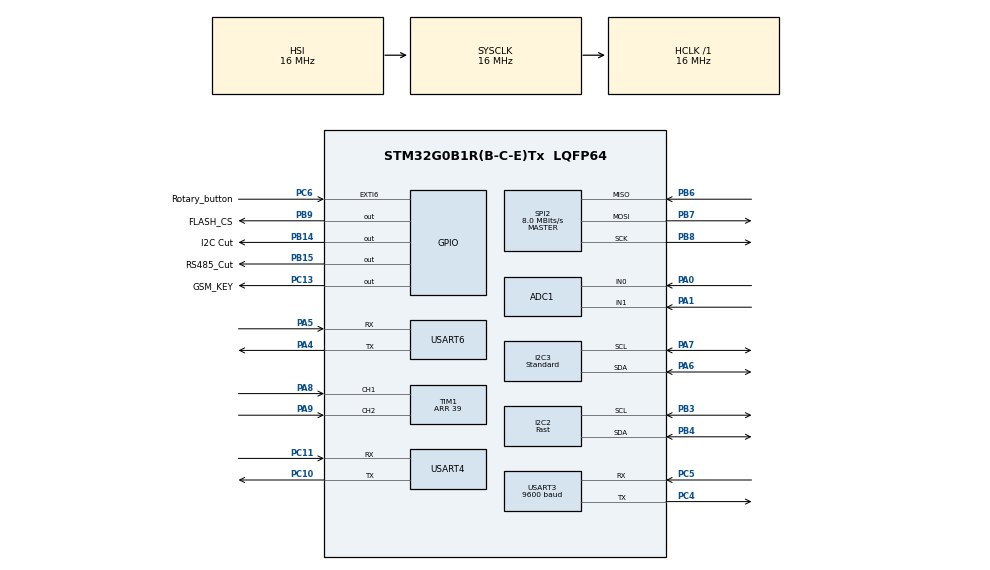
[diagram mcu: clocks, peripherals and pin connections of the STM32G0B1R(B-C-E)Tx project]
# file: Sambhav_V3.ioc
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ADC1.Channel-0\#ChannelRegularConversion=ADC_CHANNEL_0
ADC1.DiscontinuousConvMode=DISABLE
ADC1.NbrOfConversion=1
ADC1.NbrOfConversionFlag=1
ADC1.Rank-0\#ChannelRegularConversion=1
ADC1.SamplingTime-0\#ChannelRegularConversion=ADC_SAMPLINGTIME_COMMON_1
ADC1.SamplingTimeCommon1=ADC_SAMPLETIME_79CYCLES_5
ADC1.SamplingTimeCommon2=ADC_SAMPLETIME_3CYCLES_5
ADC1.SelectedChannel=ADC_CHANNEL_0|ADC_CHANNEL_1
ADC1.master=1
I2C2.I2C_Speed_Mode=I2C_Fast
I2C2.Timing=0x0010061A
I2C3.I2C_Speed_Mode=I2C_Standard
Mcu.Family=STM32G0
Mcu.Name=STM32G0B1R(B-C-E)Tx
Mcu.Package=LQFP64
NVIC.EXTI4_15_IRQn=true\:1\:0\:true\:false\:true\:true\:true\:true
NVIC.RTC_TAMP_IRQn=true\:0\:0\:false\:false\:true\:true\:true\:true
NVIC.TIM1_BRK_UP_TRG_COM_IRQn=true\:1\:0\:true\:false\:true\:true\:true\:true
NVIC.TIM1_CC_IRQn=true\:1\:0\:true\:false\:true\:true\:true\:true
NVIC.USART3_4_5_6_LPUART1_IRQn=true\:0\:0\:false\:false\:true\:true\:true\:true
PA0.Mode=IN0
PA0.Signal=ADC1_IN0
PA1.Mode=IN1
PA1.Signal=ADC1_IN1
PA13.GPIO_Label=TMS
PA13.Mode=Serial_Wire
PA13.Signal=SYS_SWDIO
PA14-BOOT0.GPIO_Label=TCK
PA14-BOOT0.Mode=Serial_Wire
PA14-BOOT0.Signal=SYS_SWCLK
PA4.Mode=Asynchronous
PA4.Signal=USART6_TX
PA5.Mode=Asynchronous
PA5.Signal=USART6_RX
PA6.GPIO_Pu=GPIO_PULLUP
PA6.Mode=I2C
PA6.Signal=I2C3_SDA
PA7.GPIO_Pu=GPIO_PULLUP
PA7.Mode=I2C
PA7.Signal=I2C3_SCL
PA8.GPIO_PuPd=GPIO_PULLUP
PA8.GPIO_Speed=GPIO_SPEED_FREQ_LOW
PA8.Signal=S_TIM1_CH1
PA9.GPIO_PuPd=GPIO_PULLUP
PA9.GPIO_Speed=GPIO_SPEED_FREQ_LOW
PA9.Signal=S_TIM1_CH2
PB14.GPIO_Label=I2C Cut
PB14.GPIO_PuPd=GPIO_PULLDOWN
PB14.PinState=GPIO_PIN_SET
PB14.Signal=GPIO_Output
PB15.GPIO_Label=RS485_Cut
PB15.GPIO_PuPd=GPIO_PULLDOWN
PB15.PinState=GPIO_PIN_SET
PB15.Signal=GPIO_Output
PB3.GPIO_Pu=GPIO_PULLUP
PB3.Mode=I2C
PB3.Signal=I2C2_SCL
PB4.GPIO_Pu=GPIO_PULLUP
PB4.Mode=I2C
PB4.Signal=I2C2_SDA
PB6.Mode=Full_Duplex_Master
PB6.Signal=SPI2_MISO
PB7.Mode=Full_Duplex_Master
PB7.Signal=SPI2_MOSI
PB8.Mode=Full_Duplex_Master
PB8.Signal=SPI2_SCK
PB9.GPIO_Label=FLASH_CS
PB9.PinState=GPIO_PIN_SET
PB9.Signal=GPIO_Output
PC10.GPIO_PuPd=GPIO_PULLUP
PC10.Mode=Asynchronous
PC10.Signal=USART4_TX
PC11.GPIO_PuPd=GPIO_PULLUP
PC11.Mode=Asynchronous
PC11.Signal=USART4_RX
PC13.GPIO_Label=GSM_KEY
PC13.GPIO_PuPd=GPIO_NOPULL
PC13.PinState=GPIO_PIN_RESET
PC13.Signal=GPIO_Output
PC14-OSC32_IN\ (PC14).Mode=LSE-External-Oscillator
PC14-OSC32_IN\ (PC14).Signal=RCC_OSC32_IN
PC15-OSC32_OUT\ (PC15).Mode=LSE-External-Oscillator
PC15-OSC32_OUT\ (PC15).Signal=RCC_OSC32_OUT
PC4.Mode=Asynchronous
PC4.Signal=USART3_TX
PC5.Mode=Asynchronous
PC5.Signal=USART3_RX
PC6.GPIO_Label=Rotary_button
PC6.GPIO_ModeDefaultEXTI=GPIO_MODE_IT_FALLING
PC6.GPIO_PuPd=GPIO_PULLUP
PC6.Signal=GPXTI6
PF0-OSC_IN\ (PF0).GPIO_Label=MCO
PF0-OSC_IN\ (PF0).Mode=HSE-External-Clock-Source
PF0-OSC_IN\ (PF0).Signal=RCC_OSC_IN
ProjectManager.HeapSize=0x200
ProjectManager.StackSize=0x400
ProjectManager.TargetToolchain=STM32CubeIDE
RCC.AHBFreq_Value=16000000
RCC.CortexFreq_Value=16000000
RCC.EXTERNAL_CLOCK_VALUE=12288000
RCC.HCLKFreq_Value=16000000
RCC.HSE_VALUE=8000000
RCC.HSI48_VALUE=48000000
RCC.HSI_VALUE=16000000
RCC.RTCClockSelection=RCC_RTCCLKSOURCE_LSE
RCC.SYSCLKFreq_VALUE=16000000
RCC.USBFreq_Value=48000000
RCC.VCOOutputFreq_Value=128000000
RTC.Alarm-Alarm\ A=RTC_ALARM_A
SH.S_TIM1_CH1.0=TIM1_CH1,Encoder_Interface
SH.S_TIM1_CH2.0=TIM1_CH2,Encoder_Interface
SPI2.CalculateBaudRate=8.0 MBits/s
SPI2.Direction=SPI_DIRECTION_2LINES
SPI2.Mode=SPI_MODE_MASTER
SPI2.VirtualType=VM_MASTER
TIM1.EncoderMode=TIM_ENCODERMODE_TI12
TIM1.Period=39
USART3.BaudRate=9600
USART3.VirtualMode-Asynchronous=VM_ASYNC
USART4.VirtualMode-Asynchronous=VM_ASYNC
USART6.VirtualMode-Asynchronous=VM_ASYNC
VP_RTC_VS_RTC_Activate.Mode=RTC_Enabled
VP_RTC_VS_RTC_Alarm_A_Intern.Mode=Alarm A
VP_RTC_VS_RTC_Calendar.Mode=RTC_Calendar
VP_SYS_VS_DBSignals.Mode=DisableDeadBatterySignals
board=NUCLEO-G0B1RE

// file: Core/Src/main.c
/* USER CODE BEGIN Header */
/**
 ******************************************************************************
 * @file           : main.c
 * @brief          : Main program body
 ******************************************************************************
 * @attention
 *
 * Copyright (c) 2023 STMicroelectronics.
 * All rights reserved.
 *
 * This software is licensed under terms that can be found in the LICENSE file
 * in the root directory of this software component.
 * If no LICENSE file comes with this software, it is provided AS-IS.
 *
 ******************************************************************************
 */
/* USER CODE END Header */
#include "main.h"

/* USER CODE BEGIN PD */
#define DISPLAY_DELAY 800
#define BATTERY_VOLTAGE_CHANNEL ADC_CHANNEL_0
#define SOLAR_RAD_CHANNEL ADC_CHANNEL_1
/* USER CODE END PD */

ADC_HandleTypeDef hadc1;

I2C_HandleTypeDef hi2c2;
I2C_HandleTypeDef hi2c3;

RTC_HandleTypeDef hrtc;

SPI_HandleTypeDef hspi2;

TIM_HandleTypeDef htim1;

UART_HandleTypeDef huart3;
UART_HandleTypeDef huart4;
UART_HandleTypeDef huart6;

/* USER CODE BEGIN PV */
/* Device identifiers and timing configuration */
uint32_t uid_stm32 = 0;
uint8_t time_interval = 15;   // Data collection interval in minutes
uint8_t GSM_interval = 1;     // Hourly GSM posting interval
// uint8_t flash_data_size = 82; // Old record size (float-encoded weather station)
uint8_t flash_data_size = 70; // Bytes stored per flash record
uint8_t backup_array[100] = {0};
uint8_t backup_array_size = 0;
uint8_t RSSI = 0;

/* Modbus sensor request packets */
uint8_t Leaf_wetness_1_query[] = {0x04, 0x03, 0x00, 0x00, 0x00, 0x02, 0x00, 0x00};
uint8_t Leaf_wetness_2_query[] = {0x08, 0x03, 0x00, 0x00, 0x00, 0x02, 0x00, 0x00};
uint8_t Soil_moisture_1_query[] = {0x02, 0x03, 0x00, 0x00, 0x00, 0x03, 0x00, 0x00};
uint8_t Soil_moisture_2_query[] = {0x06, 0x03, 0x00, 0x00, 0x00, 0x03, 0x00, 0x00};
uint8_t pH_query[] = {0x0B, 0x03, 0x00, 0x00, 0x00, 0x03, 0x00, 0x00};
uint8_t NPK1_query[] = {0x01, 0x03, 0x00, 0x00, 0x00, 0x03, 0x00, 0x00};
uint8_t NPK2_query[] = {0x07, 0x03, 0x00, 0x00, 0x00, 0x03, 0x00, 0x00};
uint8_t CO2_cmd[] = {0xFF, 0x01, 0x86, 0x00, 0x00, 0x00, 0x00, 0x00, 0x79};
/* Old weather station (slave 0x05, three separate reads) - replaced by
   Weather_SMKB_modbus_query below. Kept for reference / rollback. */
// uint8_t Weather_Wi_T_RH_Pr[] = {0x05, 0x03, 0x00, 0x01, 0x00, 0x09, 0x00, 0x00};
// uint8_t Weather_rain[] = {0x05, 0x03, 0x00, 0x0C, 0x00, 0x04, 0x00, 0x00};
// uint8_t Weather_SR[] = {0x05, 0x03, 0x00, 0x21, 0x00, 0x02, 0x00, 0x00};
/* Old solar radiation query (slave 0x0B) - was never issued; replaced by
   solar_rad_modbus_query below. */
// uint8_t Solar_radiation_query[] = {0x0B, 0x03, 0x00, 0x00, 0x00, 0x01, 0x00, 0x00};
uint8_t PAR_query[] = {0x0A, 0x03, 0x00, 0x00, 0x00, 0x01, 0x00, 0x00};

uint8_t Weather_SMKB_modbus_query[] = {
    0x05,       // Slave address
    0x03,       // Function code
    0x00, 0x00, // Start register = 0x0000
    0x00, 0x0E, // Number of registers = 14
    0x00, 0x00  // CRC filled by Add_CRC()
};

uint8_t solar_rad_modbus_query[] = {
    0x03,       // Slave address
    0x03,       // Function code
    0x00, 0x00, // Start register = 0x0000
    0x00, 0x01, // read 1 register
    0x85, 0xE8
};

/* Sensor measurements and computed values */
float temperature, humidity, pH_value, soil_temp_pH, leaf_wet_1, leaf_wet_2, soil_moisture_1, soil_temp_1, soil_moisture_2, soil_temp_2, solar_radiation, voltage, battery_voltage;
float wind_speed, air_temp, air_rh, baro_pressure, rainfall, rainfall_acc, Air_solar;
uint16_t co2 = 0, N1 = 0, P1 = 0, K1 = 0, N2 = 0, P2 = 0, K2 = 0, soil_EC_1, soil_EC_2, wind_dir;

/* SMKB weather station + dedicated solar radiation sensor (Modbus) */
int16_t solar_rad = 0;                 // W/m2, from solar_rad_modbus_query
int16_t actual_wind_direction = 0;     // degrees, mechanical vane
int16_t ultrasonic_wind_direction = 0; // degrees, ultrasonic
float pressure = 0.0f;                 // hPa
float rainfall_intensity = 0.0f;       // mm/min
float accumulated_rainfall = 0.0f;     // mm
char print_char[200] = {0};
float PAR_data = 0.0;

/* Application flags */
uint8_t GSM_connected_flag = 0;
uint8_t flash_ready_flag = 0;
uint8_t Rotary_button_pressed = 0;
uint8_t wakeup_from_alarm = 0;
uint8_t bootup_flag = 0;
uint8_t RTC_alarm_flag = 0;

#if (USE_HTTP_UPLOAD == 0)
/* MQTT link (always connected) and the simulated motor - see MQTT_app_poll() */
char mqtt_device_id[24] = {0};  // "SAMBHAV_<uid>", same as the JSON Device_ID
uint8_t mqtt_connected = 0;
uint8_t motor_running = 0;
uint32_t motor_start_tick = 0;
uint32_t motor_duration_ms = 0;
uint32_t mqtt_last_check_tick = 0;
#endif

extern uint32_t flash_write_address;
extern uint32_t flash_read_address;
extern uint32_t flash_erase_address;
extern uint32_t flash_next_write_address;
extern uint32_t flash_next_read_address;
/* USER CODE END PV */

void SystemClock_Config(void);
static void MX_GPIO_Init(void);
static void MX_I2C2_Init(void);
static void MX_TIM1_Init(void);
static void MX_RTC_Init(void);
static void MX_USART4_UART_Init(void);
static void MX_USART6_UART_Init(void);
static void MX_USART3_UART_Init(void);
static void MX_SPI2_Init(void);
static void MX_I2C3_Init(void);
static void MX_ADC1_Init(void);
/* USER CODE BEGIN PFP */
#if (USE_HTTP_UPLOAD == 0)
uint8_t MQTT_app_connect(void);
void MQTT_app_poll(void);
#endif
/* USER CODE END PFP */

int main(void)
{

  /* MCU Configuration--------------------------------------------------------*/

  /* Reset of all peripherals, Initializes the Flash interface and the Systick. */
  HAL_Init();

  /* USER CODE BEGIN Init */
  HAL_SYSCFG_StrobeDBattpinsConfig(SYSCFG_CFGR1_UCPD1_STROBE);
  /* USER CODE END Init */

  /* Configure the system clock */
  SystemClock_Config();

  /* Initialize all configured peripherals */
  MX_GPIO_Init();
  MX_I2C2_Init();
  MX_TIM1_Init();
  MX_RTC_Init();
  MX_USART4_UART_Init();
  MX_USART6_UART_Init();
  MX_USART3_UART_Init();
  MX_SPI2_Init();
  MX_I2C3_Init();
  MX_ADC1_Init();
  /* USER CODE BEGIN 2 */
  GSM_init(&huart4);
  w25q32jv_flash_init(&hspi2);

  SSD1306_Init();
  SSD1306_Clear();

  CALLBACKS_RegisterTypeDef callBacks;
  callBacks.callBackPoss = rotaryPossCallBack;
  callBacks.callBackBTNpress = btnPressCallBack;
  ROT_ENC_init(&callBacks);

  bootup_flag = 1;
  printDisplay("Booting....");
  serial_print("-----------------------BOOTUP------------------\r\n\r\n\r\n");

  /* USER CODE END 2 */

  /* Infinite loop */
  while (1)
  {

    /* USER CODE BEGIN 3 */
    if (bootup_flag == SET || RTC_alarm_flag == SET)
    {
      /* Perform the periodic data collection and GSM upload sequence */
      App_operation();
      RTC_alarm_flag = RESET;
    }

#if (USE_HTTP_UPLOAD == 0)
    /* Between cycles: handle motor_cmd/cmd/ota, stop the motor on time */
    MQTT_app_poll();
#endif

    if (Rotary_button_pressed == 1)
    {
      /* Enter menu mode when the rotary encoder button is pressed */
      while (1)
      {
        ROT_ENC_handler();
        printHandler();
      }
    }
  }
  /* USER CODE END 3 */
}

void SystemClock_Config(void)
{
  RCC_OscInitTypeDef RCC_OscInitStruct = {0};
  RCC_ClkInitTypeDef RCC_ClkInitStruct = {0};

  /** Configure the main internal regulator output voltage
   */
  HAL_PWREx_ControlVoltageScaling(PWR_REGULATOR_VOLTAGE_SCALE1);

  /** Configure LSE Drive Capability
   */
  HAL_PWR_EnableBkUpAccess();
  __HAL_RCC_LSEDRIVE_CONFIG(RCC_LSEDRIVE_LOW);

  /** Initializes the RCC Oscillators according to the specified parameters
   * in the RCC_OscInitTypeDef structure.
   */
  RCC_OscInitStruct.OscillatorType = RCC_OSCILLATORTYPE_HSI | RCC_OSCILLATORTYPE_LSE;
  RCC_OscInitStruct.LSEState = RCC_LSE_ON;
  RCC_OscInitStruct.HSIState = RCC_HSI_ON;
  RCC_OscInitStruct.HSIDiv = RCC_HSI_DIV1;
  RCC_OscInitStruct.HSICalibrationValue = RCC_HSICALIBRATION_DEFAULT;
  RCC_OscInitStruct.PLL.PLLState = RCC_PLL_NONE;
  if (HAL_RCC_OscConfig(&RCC_OscInitStruct) != HAL_OK)
  {
    Error_Handler();
  }

  /** Initializes the CPU, AHB and APB buses clocks
   */
  RCC_ClkInitStruct.ClockType = RCC_CLOCKTYPE_HCLK | RCC_CLOCKTYPE_SYSCLK | RCC_CLOCKTYPE_PCLK1;
  RCC_ClkInitStruct.SYSCLKSource = RCC_SYSCLKSOURCE_HSI;
  RCC_ClkInitStruct.AHBCLKDivider = RCC_SYSCLK_DIV1;
  RCC_ClkInitStruct.APB1CLKDivider = RCC_HCLK_DIV1;

  if (HAL_RCC_ClockConfig(&RCC_ClkInitStruct, FLASH_LATENCY_0) != HAL_OK)
  {
    Error_Handler();
  }
}

static void MX_ADC1_Init(void)
{

  ADC_ChannelConfTypeDef sConfig = {0};

  /** Configure the global features of the ADC (Clock, Resolution, Data Alignment and number of conversion)
   */
  hadc1.Instance = ADC1;
  hadc1.Init.ClockPrescaler = ADC_CLOCK_SYNC_PCLK_DIV2;
  hadc1.Init.Resolution = ADC_RESOLUTION_12B;
  hadc1.Init.DataAlign = ADC_DATAALIGN_RIGHT;
  hadc1.Init.ScanConvMode = ADC_SCAN_DISABLE;
  hadc1.Init.EOCSelection = ADC_EOC_SINGLE_CONV;
  hadc1.Init.LowPowerAutoWait = DISABLE;
  hadc1.Init.LowPowerAutoPowerOff = DISABLE;
  hadc1.Init.ContinuousConvMode = DISABLE;
  hadc1.Init.NbrOfConversion = 1;
  hadc1.Init.DiscontinuousConvMode = DISABLE;
  hadc1.Init.ExternalTrigConv = ADC_SOFTWARE_START;
  hadc1.Init.ExternalTrigConvEdge = ADC_EXTERNALTRIGCONVEDGE_NONE;
  hadc1.Init.DMAContinuousRequests = DISABLE;
  hadc1.Init.Overrun = ADC_OVR_DATA_PRESERVED;
  hadc1.Init.SamplingTimeCommon1 = ADC_SAMPLETIME_79CYCLES_5;
  hadc1.Init.SamplingTimeCommon2 = ADC_SAMPLETIME_3CYCLES_5;
  hadc1.Init.OversamplingMode = DISABLE;
  hadc1.Init.TriggerFrequencyMode = ADC_TRIGGER_FREQ_HIGH;
  if (HAL_ADC_Init(&hadc1) != HAL_OK)
  {
    Error_Handler();
  }

  /** Configure Regular Channel
   */
  sConfig.Channel = ADC_CHANNEL_0;
  sConfig.Rank = ADC_REGULAR_RANK_1;
  sConfig.SamplingTime = ADC_SAMPLINGTIME_COMMON_1;
  if (HAL_ADC_ConfigChannel(&hadc1, &sConfig) != HAL_OK)
  {
    Error_Handler();
  }
}

static void MX_I2C2_Init(void)
{

  hi2c2.Instance = I2C2;
  hi2c2.Init.Timing = 0x0010061A;
  hi2c2.Init.OwnAddress1 = 0;
  hi2c2.Init.AddressingMode = I2C_ADDRESSINGMODE_7BIT;
  hi2c2.Init.DualAddressMode = I2C_DUALADDRESS_DISABLE;
  hi2c2.Init.OwnAddress2 = 0;
  hi2c2.Init.OwnAddress2Masks = I2C_OA2_NOMASK;
  hi2c2.Init.GeneralCallMode = I2C_GENERALCALL_DISABLE;
  hi2c2.Init.NoStretchMode = I2C_NOSTRETCH_DISABLE;
  if (HAL_I2C_Init(&hi2c2) != HAL_OK)
  {
    Error_Handler();
  }

  /** Configure Analogue filter
   */
  if (HAL_I2CEx_ConfigAnalogFilter(&hi2c2, I2C_ANALOGFILTER_ENABLE) != HAL_OK)
  {
    Error_Handler();
  }

  /** Configure Digital filter
   */
  if (HAL_I2CEx_ConfigDigitalFilter(&hi2c2, 0) != HAL_OK)
  {
    Error_Handler();
  }
}

static void MX_I2C3_Init(void)
{

  hi2c3.Instance = I2C3;
  hi2c3.Init.Timing = 0x00303D5B;
  hi2c3.Init.OwnAddress1 = 0;
  hi2c3.Init.AddressingMode = I2C_ADDRESSINGMODE_7BIT;
  hi2c3.Init.DualAddressMode = I2C_DUALADDRESS_DISABLE;
  hi2c3.Init.OwnAddress2 = 0;
  hi2c3.Init.OwnAddress2Masks = I2C_OA2_NOMASK;
  hi2c3.Init.GeneralCallMode = I2C_GENERALCALL_DISABLE;
  hi2c3.Init.NoStretchMode = I2C_NOSTRETCH_DISABLE;
  if (HAL_I2C_Init(&hi2c3) != HAL_OK)
  {
    Error_Handler();
  }

  /** Configure Analogue filter
   */
  if (HAL_I2CEx_ConfigAnalogFilter(&hi2c3, I2C_ANALOGFILTER_ENABLE) != HAL_OK)
  {
    Error_Handler();
  }

  /** Configure Digital filter
   */
  if (HAL_I2CEx_ConfigDigitalFilter(&hi2c3, 0) != HAL_OK)
  {
    Error_Handler();
  }
}

static void MX_RTC_Init(void)
{

  /** Initialize RTC Only
   */
  hrtc.Instance = RTC;
  hrtc.Init.HourFormat = RTC_HOURFORMAT_24;
  hrtc.Init.AsynchPrediv = 127;
  hrtc.Init.SynchPrediv = 255;
  hrtc.Init.OutPut = RTC_OUTPUT_DISABLE;
  hrtc.Init.OutPutRemap = RTC_OUTPUT_REMAP_NONE;
  hrtc.Init.OutPutPolarity = RTC_OUTPUT_POLARITY_HIGH;
  hrtc.Init.OutPutType = RTC_OUTPUT_TYPE_OPENDRAIN;
  hrtc.Init.OutPutPullUp = RTC_OUTPUT_PULLUP_NONE;
  if (HAL_RTC_Init(&hrtc) != HAL_OK)
  {
    Error_Handler();
  }

}

static void MX_SPI2_Init(void)
{

  /* SPI2 parameter configuration*/
  hspi2.Instance = SPI2;
  hspi2.Init.Mode = SPI_MODE_MASTER;
  hspi2.Init.Direction = SPI_DIRECTION_2LINES;
  hspi2.Init.DataSize = SPI_DATASIZE_8BIT;
  hspi2.Init.CLKPolarity = SPI_POLARITY_LOW;
  hspi2.Init.CLKPhase = SPI_PHASE_1EDGE;
  hspi2.Init.NSS = SPI_NSS_SOFT;
  hspi2.Init.BaudRatePrescaler = SPI_BAUDRATEPRESCALER_2;
  hspi2.Init.FirstBit = SPI_FIRSTBIT_MSB;
  hspi2.Init.TIMode = SPI_TIMODE_DISABLE;
  hspi2.Init.CRCCalculation = SPI_CRCCALCULATION_DISABLE;
  hspi2.Init.CRCPolynomial = 7;
  hspi2.Init.CRCLength = SPI_CRC_LENGTH_DATASIZE;
  hspi2.Init.NSSPMode = SPI_NSS_PULSE_ENABLE;
  if (HAL_SPI_Init(&hspi2) != HAL_OK)
  {
    Error_Handler();
  }
}

static void MX_TIM1_Init(void)
{

  TIM_Encoder_InitTypeDef sConfig = {0};
  TIM_MasterConfigTypeDef sMasterConfig = {0};

  htim1.Instance = TIM1;
  htim1.Init.Prescaler = 0;
  htim1.Init.CounterMode = TIM_COUNTERMODE_UP;
  htim1.Init.Period = 39;
  htim1.Init.ClockDivision = TIM_CLOCKDIVISION_DIV1;
  htim1.Init.RepetitionCounter = 0;
  htim1.Init.AutoReloadPreload = TIM_AUTORELOAD_PRELOAD_DISABLE;
  sConfig.EncoderMode = TIM_ENCODERMODE_TI12;
  sConfig.IC1Polarity = TIM_ICPOLARITY_RISING;
  sConfig.IC1Selection = TIM_ICSELECTION_DIRECTTI;
  sConfig.IC1Prescaler = TIM_ICPSC_DIV1;
  sConfig.IC1Filter = 0;
  sConfig.IC2Polarity = TIM_ICPOLARITY_RISING;
  sConfig.IC2Selection = TIM_ICSELECTION_DIRECTTI;
  sConfig.IC2Prescaler = TIM_ICPSC_DIV1;
  sConfig.IC2Filter = 0;
  if (HAL_TIM_Encoder_Init(&htim1, &sConfig) != HAL_OK)
  {
    Error_Handler();
  }
  sMasterConfig.MasterOutputTrigger = TIM_TRGO_RESET;
  sMasterConfig.MasterOutputTrigger2 = TIM_TRGO2_RESET;
  sMasterConfig.MasterSlaveMode = TIM_MASTERSLAVEMODE_DISABLE;
  if (HAL_TIMEx_MasterConfigSynchronization(&htim1, &sMasterConfig) != HAL_OK)
  {
    Error_Handler();
  }
  /* USER CODE BEGIN TIM1_Init 2 */
  HAL_TIM_Encoder_Start(&htim1, TIM_CHANNEL_ALL);
  /* USER CODE END TIM1_Init 2 */
}

static void MX_USART3_UART_Init(void)
{

  huart3.Instance = USART3;
  huart3.Init.BaudRate = 9600;
  huart3.Init.WordLength = UART_WORDLENGTH_8B;
  huart3.Init.StopBits = UART_STOPBITS_1;
  huart3.Init.Parity = UART_PARITY_NONE;
  huart3.Init.Mode = UART_MODE_TX_RX;
  huart3.Init.HwFlowCtl = UART_HWCONTROL_NONE;
  huart3.Init.OverSampling = UART_OVERSAMPLING_16;
  huart3.Init.OneBitSampling = UART_ONE_BIT_SAMPLE_DISABLE;
  huart3.Init.ClockPrescaler = UART_PRESCALER_DIV1;
  huart3.AdvancedInit.AdvFeatureInit = UART_ADVFEATURE_NO_INIT;
  if (HAL_UART_Init(&huart3) != HAL_OK)
  {
    Error_Handler();
  }
  if (HAL_UARTEx_SetTxFifoThreshold(&huart3, UART_TXFIFO_THRESHOLD_1_8) != HAL_OK)
  {
    Error_Handler();
  }
  if (HAL_UARTEx_SetRxFifoThreshold(&huart3, UART_RXFIFO_THRESHOLD_1_8) != HAL_OK)
  {
    Error_Handler();
  }
  if (HAL_UARTEx_DisableFifoMode(&huart3) != HAL_OK)
  {
    Error_Handler();
  }
}

static void MX_USART4_UART_Init(void)
{

  huart4.Instance = USART4;
  huart4.Init.BaudRate = 115200;
  huart4.Init.WordLength = UART_WORDLENGTH_8B;
  huart4.Init.StopBits = UART_STOPBITS_1;
  huart4.Init.Parity = UART_PARITY_NONE;
  huart4.Init.Mode = UART_MODE_TX_RX;
  huart4.Init.HwFlowCtl = UART_HWCONTROL_NONE;
  huart4.Init.OverSampling = UART_OVERSAMPLING_16;
  huart4.Init.OneBitSampling = UART_ONE_BIT_SAMPLE_DISABLE;
  huart4.Init.ClockPrescaler = UART_PRESCALER_DIV1;
  huart4.AdvancedInit.AdvFeatureInit = UART_ADVFEATURE_NO_INIT;
  if (HAL_UART_Init(&huart4) != HAL_OK)
  {
    Error_Handler();
  }
}

static void MX_USART6_UART_Init(void)
{

  huart6.Instance = USART6;
  huart6.Init.BaudRate = 115200;
  huart6.Init.WordLength = UART_WORDLENGTH_8B;
  huart6.Init.StopBits = UART_STOPBITS_1;
  huart6.Init.Parity = UART_PARITY_NONE;
  huart6.Init.Mode = UART_MODE_TX_RX;
  huart6.Init.HwFlowCtl = UART_HWCONTROL_NONE;
  huart6.Init.OverSampling = UART_OVERSAMPLING_16;
  huart6.Init.OneBitSampling = UART_ONE_BIT_SAMPLE_DISABLE;
  huart6.Init.ClockPrescaler = UART_PRESCALER_DIV1;
  huart6.AdvancedInit.AdvFeatureInit = UART_ADVFEATURE_NO_INIT;
  if (HAL_UART_Init(&huart6) != HAL_OK)
  {
    Error_Handler();
  }
}

static void MX_GPIO_Init(void)
{
  GPIO_InitTypeDef GPIO_InitStruct = {0};

  /* GPIO Ports Clock Enable */
  __HAL_RCC_GPIOC_CLK_ENABLE();
  __HAL_RCC_GPIOF_CLK_ENABLE();
  __HAL_RCC_GPIOA_CLK_ENABLE();
  __HAL_RCC_GPIOB_CLK_ENABLE();

  /*Configure GPIO pin Output Level */
  HAL_GPIO_WritePin(GSM_KEY_GPIO_Port, GSM_KEY_Pin, GPIO_PIN_RESET);

  /*Configure GPIO pin Output Level */
  HAL_GPIO_WritePin(GPIOB, I2C_Cut_Pin | RS485_Cut_Pin | FLASH_CS_Pin, GPIO_PIN_SET);

  /*Configure GPIO pin : GSM_KEY_Pin */
  GPIO_InitStruct.Pin = GSM_KEY_Pin;
  GPIO_InitStruct.Mode = GPIO_MODE_OUTPUT_PP;
  GPIO_InitStruct.Pull = GPIO_NOPULL;
  GPIO_InitStruct.Speed = GPIO_SPEED_FREQ_LOW;
  HAL_GPIO_Init(GSM_KEY_GPIO_Port, &GPIO_InitStruct);

  /*Configure GPIO pins : I2C_Cut_Pin RS485_Cut_Pin */
  GPIO_InitStruct.Pin = I2C_Cut_Pin | RS485_Cut_Pin;
  GPIO_InitStruct.Mode = GPIO_MODE_OUTPUT_PP;
  GPIO_InitStruct.Pull = GPIO_PULLDOWN;
  GPIO_InitStruct.Speed = GPIO_SPEED_FREQ_LOW;
  HAL_GPIO_Init(GPIOB, &GPIO_InitStruct);

  /*Configure GPIO pin : Rotary_button_Pin */
  GPIO_InitStruct.Pin = Rotary_button_Pin;
  GPIO_InitStruct.Mode = GPIO_MODE_IT_FALLING;
  GPIO_InitStruct.Pull = GPIO_PULLUP;
  HAL_GPIO_Init(Rotary_button_GPIO_Port, &GPIO_InitStruct);

  /*Configure GPIO pin : FLASH_CS_Pin */
  GPIO_InitStruct.Pin = FLASH_CS_Pin;
  GPIO_InitStruct.Mode = GPIO_MODE_OUTPUT_PP;
  GPIO_InitStruct.Pull = GPIO_NOPULL;
  GPIO_InitStruct.Speed = GPIO_SPEED_FREQ_LOW;
  HAL_GPIO_Init(FLASH_CS_GPIO_Port, &GPIO_InitStruct);

  /* EXTI interrupt init*/
  HAL_NVIC_SetPriority(EXTI4_15_IRQn, 1, 0);
  HAL_NVIC_EnableIRQ(EXTI4_15_IRQn);

}

/* USER CODE BEGIN 4 */

void HAL_RTC_AlarmAEventCallback(RTC_HandleTypeDef *hrtc)
{
  RTC_alarm_flag = SET;
}

void serial_print(char *str)
{
  HAL_UART_Transmit(&huart6, (uint8_t *)str, strlen(str), 1000);
  HAL_UART_Transmit(&huart6, (uint8_t *)"\r\n", 2, 1000);
}

void serial_print_inline(char *str) // Print on same line
{
  HAL_UART_Transmit(&huart6, (uint8_t *)str, strlen(str), 1000);
}

void HAL_UART_TxCpltCallback(UART_HandleTypeDef *UartHandle)
{
  GSM_UART_TxCpltCallback();
}

/**
 * @brief  Rx Transfer completed callback
 * @param  UartHandle: UART handle
 * @note   This example shows a simple way to report end of IT Rx transfer, and
 *         you can add your own implementation.
 * @retval None
 */
void HAL_UART_RxCpltCallback(UART_HandleTypeDef *UartHandle)
{
  GSM_UART_RxCpltCallback();
}

void HAL_GPIO_EXTI_Falling_Callback(uint16_t GPIO_Pin)
{
  if (GPIO_Pin == Rotary_button_Pin)
  {
    HAL_NVIC_DisableIRQ(EXTI4_15_IRQn);

    if (HAL_GPIO_ReadPin(Rotary_button_GPIO_Port, Rotary_button_Pin) == GPIO_PIN_RESET)
    {
      uint32_t getTick = HAL_GetTick();
      while (HAL_GPIO_ReadPin(Rotary_button_GPIO_Port, Rotary_button_Pin) == GPIO_PIN_RESET)
        ;

      /* Detect a long press for entering menu mode */
      if ((HAL_GetTick() - getTick) > 3000)
      {
        Rotary_button_pressed = 1;
      }
      else
      {
        HAL_NVIC_EnableIRQ(EXTI4_15_IRQn);
      }
    }
    else
    {
      HAL_NVIC_EnableIRQ(EXTI4_15_IRQn);
    }
  }
}

void HAL_GPIO_EXTI_Rising_Callback(uint16_t GPIO_Pin)
{
}
/**
 * @brief  UART error callbacks
 * @param  UartHandle: UART handle
 * @note   This example shows a simple way to report transfer error, and you can
 *         add your own implementation.
 * @retval None
 */
void HAL_UART_ErrorCallback(UART_HandleTypeDef *UartHandle)
{
  printDisplay_level(35, "uec");
  // Error_Handler();
}

void printDisplay(char *data)
{
  SSD1306_Clear();
  SSD1306_GotoXY(0, 8);
  SSD1306_Puts(data, &Font_11x18, 1);
  SSD1306_UpdateScreen(); // display
}

void printDisplay_level(uint16_t x_coord, char *data)
{
  /* Draw text at the requested X coordinate without clearing the screen */
  SSD1306_GotoXY(x_coord, 8);
  SSD1306_Puts(data, &Font_11x18, 1);
  SSD1306_UpdateScreen();
}

void check_wakeup(void)
{
  if (__HAL_PWR_GET_FLAG(PWR_FLAG_SB) != RESET)
  {
    /* Clear Standby flag after waking from low-power standby */
    __HAL_PWR_CLEAR_FLAG(PWR_FLAG_SB);
    serial_print("-----------------------WAKEUP------------------\r\n\r\n\r\n");

    /* After waking up from low-power mode (Stop or Standby), RSF must be cleared by software.
      The software must then wait until it is set again before reading the RTC_SSR, RTC_TR and
      RTC_DR registers. */
    __HAL_RTC_WRITEPROTECTION_DISABLE(&hrtc);
    HAL_RTC_WaitForSynchro(&hrtc);
    __HAL_RTC_WRITEPROTECTION_ENABLE(&hrtc);
    __HAL_RTC_ALARM_CLEAR_FLAG(&hrtc, RTC_FLAG_ALRAF);

    wakeup_from_alarm = 1;
  }
  else
  {
    printDisplay("Booting....");
    serial_print("-----------------------BOOTUP------------------\r\n\r\n\r\n");
    wakeup_from_alarm = 0;
    bootup_flag = 1;
  }
}

void App_operation()
{
  struct tm time_tm;
  time_t ts = 0;
  uint8_t type = 0;

  /* Prepare RS485 bus and flash state */
  HAL_GPIO_WritePin(RS485_Cut_GPIO_Port, RS485_Cut_Pin, GPIO_PIN_SET);

  uid_stm32 = HAL_GetUIDw0();
  type = read_device_id();
  if (type == 0x16)
  {
    flash_ready_flag = 1;
    read_address_map();
  }
  sprintf(print_char, "Device ID %08lX \r\n", uid_stm32);
  serial_print(print_char);

  if (bootup_flag == 1)
  {
    /* The modem now stays on, so after an MCU reset it may already be running;
       pulsing PWRKEY then would switch it off. */
    // GSM_power_up();
    if (!GSM_isAlive())
      GSM_power_up();
    GSM_connected_flag = GSM_time_sync(TIME_SYNC_URL);
#if (USE_HTTP_UPLOAD == 0)
    MQTT_app_connect();
#endif
  }

  ts = RTC_read_device_time();
  localtime_r(&ts, &time_tm);

  if (time_tm.tm_hour == 3 && time_tm.tm_min == 15 && bootup_flag == 0)
  {
    write_modbus_register(0x05, 0x00F2, 0x0000);    // Reset the weather station to clear any errors
    /* Scheduled daily restart at 03:15am GMT ( 8:45am IST ) */
    printDisplay("Restart");
    serial_print("Scheduled Restart");
    HAL_NVIC_SystemReset();
  }

  if (time_tm.tm_year - 100 >= 24)
  {
    Read_data(ts);
    Oled_Data_display();
    GSM_post_sequence(ts);
    printDisplay("Sleep");
    HAL_Delay(500);
  }

  rtc_set_alarm(); /* Enter standby mode after completing the cycle */
}
void Read_data(time_t ts)
{
  HAL_StatusTypeDef ret;
  /* Must hold the largest Modbus response in use: the SMKB weather station
     returns 33 bytes (14 registers + addr/func/len/CRC). Was [24]. */
  uint8_t modbus_RX[40] = {0};
  uint8_t SCD40_RxBuffer[9] = {0};
  uint8_t SHT85_Buffer[4] = {0};
  uint8_t data[sizeof(backup_array)] = {0}; /* Temporary buffer for flash reads; sized to hold a full record read-back */
  int mb_index = 0;
  // struct tm time_tm; /* only used by the old weather-station RESET block */
  uint32_t adc_data = 0;
  uint8_t retry = 0;

  memset(backup_array, 0, sizeof(backup_array));
  backup_array_size = 0;

  /* Store timestamp header in backup buffer */
  backup_array[backup_array_size++] = 0xAA;
  backup_array[backup_array_size++] = (ts >> 24) & 0xFF;
  backup_array[backup_array_size++] = (ts >> 16) & 0xFF;
  backup_array[backup_array_size++] = (ts >> 8) & 0xFF;
  backup_array[backup_array_size++] = ts & 0xFF;

  serial_print("Reading data from sensors");
  printDisplay("Read data");

  /* Read CO2 from SCD41 over I2C, retry once if unavailable */
  while (retry < 2)
  {
    retry++;
    ret = HAL_I2C_IsDeviceReady(&hi2c3, (uint16_t)SCD40_I2C_ADDRESS << 1, 3, 5); // Check whether I2C sensor is working
    if (ret == HAL_OK)
    {
      get_scd40_data(SCD40_RxBuffer);
      break;
    }
    HAL_Delay(500);
  }

  co2 = (SCD40_RxBuffer[0] << 8) + SCD40_RxBuffer[1];
  backup_array[backup_array_size++] = SCD40_RxBuffer[0];
  backup_array[backup_array_size++] = SCD40_RxBuffer[1];

  //-------------------------------SHT45-----------------------------------------------------------------
  retry = 0;
  uint16_t temp_raw_avg = 0;
  uint16_t humid_raw_avg = 0;
  while (retry < 2)
  {
    retry++;
    ret = HAL_I2C_IsDeviceReady(&hi2c3, (uint16_t)SHT45_ADDR, 3, 5); // Check whether I2C sensor is working
    if (ret == HAL_OK)
    {
      uint16_t temp_samples[5];
      uint16_t hum_samples[5];
      uint16_t temp_raw = 0;
      uint16_t hum_raw = 0;

      // Collect 5 readings
      for (int i = 0; i < 5; i++)
      {
        Get_SHT45_values(SHT85_Buffer, &temp_raw, &hum_raw);
        temp_samples[i] = temp_raw;
        hum_samples[i] = hum_raw;
        HAL_Delay(20);
      }
      // Simple bubble sort for 5 elements
      for (int i = 0; i < 5 - 1; i++)
      {
        for (int j = 0; j < 5 - i - 1; j++)
        {
          if (temp_samples[j] > temp_samples[j + 1])
          {
            uint16_t temp = temp_samples[j];
            temp_samples[j] = temp_samples[j + 1];
            temp_samples[j + 1] = temp;
          }

          if (hum_samples[j] > hum_samples[j + 1])
          {
            uint16_t temp = hum_samples[j];
            hum_samples[j] = hum_samples[j + 1];
            hum_samples[j + 1] = temp;
          }
        }
      }

      // Median = middle value after sorting
      temp_raw_avg = temp_samples[2];
      humid_raw_avg = hum_samples[2];

      break;
    }
    HAL_Delay(500);
  }

  backup_array[backup_array_size++] = (temp_raw_avg >> 8) & 0xFF;
  backup_array[backup_array_size++] = temp_raw_avg & 0xFF;
  backup_array[backup_array_size++] = (humid_raw_avg >> 8) & 0xFF;
  backup_array[backup_array_size++] = humid_raw_avg & 0xFF;
  temperature = calc_temp_SHT45(temp_raw_avg);
  humidity = calc_humid_SHT45(humid_raw_avg);
  sprintf(print_char, "Final Median Temp= = %0.2f; RH = %0.2f\r\n", temperature, humidity);
  serial_print(print_char);

  // modbus
  HAL_Delay(500);
  // NPK
  get_modbus_data(NPK1_query, modbus_RX, 11);
  N1 = ((modbus_RX[3] << 8) + modbus_RX[4]);
  P1 = ((modbus_RX[5] << 8) + modbus_RX[6]);
  K1 = ((modbus_RX[7] << 8) + modbus_RX[8]);

  mb_index = 3;
  for (int i = backup_array_size; i < backup_array_size + 6; i++)
  {
    backup_array[i] = modbus_RX[mb_index];
    mb_index++;
  }
  backup_array_size += 6;

  HAL_Delay(500);
  // NPK2
  get_modbus_data(NPK2_query, modbus_RX, 11);
  N2 = ((modbus_RX[3] << 8) + modbus_RX[4]);
  P2 = ((modbus_RX[5] << 8) + modbus_RX[6]);
  K2 = ((modbus_RX[7] << 8) + modbus_RX[8]);

  mb_index = 3;
  for (int i = backup_array_size; i < backup_array_size + 6; i++)
  {
    backup_array[i] = modbus_RX[mb_index];
    mb_index++;
  }
  backup_array_size += 6;

  // pH
  get_modbus_data(pH_query, modbus_RX, 11);
  pH_value = ((float)((modbus_RX[3] << 8) + modbus_RX[4])) / 100;
  backup_array[backup_array_size++] = modbus_RX[3];
  backup_array[backup_array_size++] = modbus_RX[4];

  // Leaf Wetness 1
  get_modbus_data(Leaf_wetness_1_query, modbus_RX, 9);
  leaf_wet_1 = ((float)((modbus_RX[3] << 8) + modbus_RX[4])) / 10;
  backup_array[backup_array_size++] = modbus_RX[3];
  backup_array[backup_array_size++] = modbus_RX[4];

  // Leaf Wetness 2
  get_modbus_data(Leaf_wetness_2_query, modbus_RX, 9);
  leaf_wet_2 = ((float)((modbus_RX[3] << 8) + modbus_RX[4])) / 10;
  backup_array[backup_array_size++] = modbus_RX[3];
  backup_array[backup_array_size++] = modbus_RX[4];

  // SMTEC 1
  get_modbus_data(Soil_moisture_1_query, modbus_RX, 11);
  soil_moisture_1 = ((float)((modbus_RX[3] << 8) + modbus_RX[4])) / 100;
  soil_temp_1 = ((float)((modbus_RX[5] << 8) + modbus_RX[6])) / 100;
  soil_EC_1 = ((modbus_RX[7] << 8) + modbus_RX[8]);
  mb_index = 3;
  for (int i = backup_array_size; i < backup_array_size + 6; i++)
  {
    backup_array[i] = modbus_RX[mb_index];
    mb_index++;
  }
  backup_array_size += 6;

  // SMTEC 2
  get_modbus_data(Soil_moisture_2_query, modbus_RX, 11);
  soil_moisture_2 = ((float)((modbus_RX[3] << 8) + modbus_RX[4])) / 100;
  soil_temp_2 = ((float)((modbus_RX[5] << 8) + modbus_RX[6])) / 100;
  soil_EC_2 = ((modbus_RX[7] << 8) + modbus_RX[8]);

  //  HAL_GPIO_WritePin(RS485_Cut_GPIO_Port, RS485_Cut_Pin, GPIO_PIN_RESET);

  mb_index = 3;
  for (int i = backup_array_size; i < backup_array_size + 6; i++)
  {
    backup_array[i] = modbus_RX[mb_index];
    mb_index++;
  }
  backup_array_size += 6;
  /* ==================================================================
     OLD weather station read (slave 0x05, three requests, IEEE-754
     floats stored mid-little-endian). Replaced by the SMKB block below.
     ==================================================================
  // Weather Sensor
  uint8_t mb_data_sort[4];
  uint8_t index = 0;
  uint8_t wr_data_index = backup_array_size;
  get_modbus_data(Weather_Wi_T_RH_Pr, modbus_RX, 23);
  backup_array[backup_array_size++] = modbus_RX[3];
  backup_array[backup_array_size++] = modbus_RX[4];
  mb_index = 5;
  for (int ix = 0; ix < 4; ix++)
  {
    setMidLitEnd(modbus_RX, mb_data_sort, mb_index);
    index = 0;
    for (int i = backup_array_size; i < backup_array_size + 4; i++)
    {
      backup_array[i] = mb_data_sort[index];
      index++;
    }
    backup_array_size += 4;
    mb_index += 4;
  }

  // Rain
  get_modbus_data(Weather_rain, modbus_RX, 13);
  index = 0;
  mb_index = 3;
  for (int ix = 0; ix < 2; ix++)
  {
    setMidLitEnd(modbus_RX, mb_data_sort, mb_index);
    index = 0;
    for (int i = backup_array_size; i < backup_array_size + 4; i++)
    {
      backup_array[i] = mb_data_sort[index];
      index++;
    }
    backup_array_size += 4;
    mb_index += 4;
  }

  // Weather SR
  get_modbus_data(Weather_SR, modbus_RX, 9);
  setMidLitEnd(modbus_RX, mb_data_sort, 3);
  index = 0;
  for (int i = backup_array_size; i < backup_array_size + 4; i++)
  {
    backup_array[i] = mb_data_sort[index];
    index++;
  }
  backup_array_size += 4;

  wind_dir = convert_to_16bit_data(backup_array, &wr_data_index);
  wind_speed = convert_to_float_data(backup_array, &wr_data_index);
  air_temp = convert_to_float_data(backup_array, &wr_data_index);
  air_rh = convert_to_float_data(backup_array, &wr_data_index);
  baro_pressure = convert_to_float_data(backup_array, &wr_data_index);
  rainfall = convert_to_float_data(backup_array, &wr_data_index);
  rainfall_acc = 4 * convert_to_float_data(backup_array, &wr_data_index);
  Air_solar = convert_to_float_data(backup_array, &wr_data_index);

  // for weather station RESET
  ts = ts + 19800;
  localtime_r(&ts, &time_tm);

  if (time_tm.tm_hour == 8 && time_tm.tm_min == 30)
  {
    uint8_t Weather_reset_query[] = {0x3E, 0x52, 0x45, 0x53, 0x45, 0x54, 0x0D, 0x0A};
    if (HAL_UART_Transmit(&huart3, (uint8_t *)Weather_reset_query, 8, 200) != HAL_OK)
    {
      Error_Handler();
    }
    HAL_UART_Receive(&huart3, (uint8_t *)modbus_RX, 18, 1000);
  }
     ================================================================== */

  // Reading Solar Radiation
  // printDisplay("SR");
  get_modbus_data(solar_rad_modbus_query, modbus_RX, 7);

  serial_print("\r\n");
  int16_t buf1[2];
  buf1[0] = modbus_RX[3];
  buf1[1] = modbus_RX[4];
  solar_rad = (int16_t)((buf1[0] << 8) | buf1[1]);
  backup_array[backup_array_size++] = (buf1[0] & 0xFF);
  backup_array[backup_array_size++] = (buf1[1] & 0xFF);

  sprintf(print_char, "Solar Radiation: %d W/m2", solar_rad);
  serial_print(print_char);

  // Reading Weather Station Data
  // printDisplay("WS");

  get_modbus_data(Weather_SMKB_modbus_query, modbus_RX, 33);

  serial_print("\r\n");

  /* Extract registers */
  int16_t reg_temp = (int16_t)((modbus_RX[3] << 8) | modbus_RX[4]);
  int16_t reg_hum = (int16_t)((modbus_RX[5] << 8) | modbus_RX[6]);
  int16_t reg_pressure = (int16_t)((modbus_RX[15] << 8) | modbus_RX[16]);
  int16_t reg_rain_int = (int16_t)((modbus_RX[21] << 8) | modbus_RX[22]);
  int16_t reg_rain_total = (int16_t)((modbus_RX[23] << 8) | modbus_RX[24]);
  int16_t reg_wind_speed = (int16_t)((modbus_RX[25] << 8) | modbus_RX[26]);
  int16_t reg_act_dir = (int16_t)((modbus_RX[27] << 8) | modbus_RX[28]);
  int16_t reg_ultra_dir = (int16_t)((modbus_RX[29] << 8) | modbus_RX[30]);

  /* Store raw bytes into backup array */

  // Temperature
  backup_array[backup_array_size++] = modbus_RX[3];
  backup_array[backup_array_size++] = modbus_RX[4];

  // Humidity
  backup_array[backup_array_size++] = modbus_RX[5];
  backup_array[backup_array_size++] = modbus_RX[6];

  // Pressure
  backup_array[backup_array_size++] = modbus_RX[15];
  backup_array[backup_array_size++] = modbus_RX[16];

  // Rain Intensity
  backup_array[backup_array_size++] = modbus_RX[21];
  backup_array[backup_array_size++] = modbus_RX[22];

  // Accumulated Rainfall
  backup_array[backup_array_size++] = modbus_RX[23];
  backup_array[backup_array_size++] = modbus_RX[24];

  // Wind Speed
  backup_array[backup_array_size++] = modbus_RX[25];
  backup_array[backup_array_size++] = modbus_RX[26];

  // Actual Wind Direction
  backup_array[backup_array_size++] = modbus_RX[27];
  backup_array[backup_array_size++] = modbus_RX[28];

  // Ultrasonic Wind Direction
  backup_array[backup_array_size++] = modbus_RX[29];
  backup_array[backup_array_size++] = modbus_RX[30];

  /* Handle invalid values */

  if (reg_temp == 0x7FFF)
    reg_temp = 0;
  if (reg_hum == 0x7FFF)
    reg_hum = 0;
  if (reg_pressure == 0x7FFF)
    reg_pressure = 0;
  if (reg_rain_int == 0x7FFF)
    reg_rain_int = 0;
  if (reg_rain_total == 0x7FFF)
    reg_rain_total = 0;
  if (reg_wind_speed == 0x7FFF)
    reg_wind_speed = 0;
  if (reg_act_dir == 0x7FFF)
    reg_act_dir = 0;
  if (reg_ultra_dir == 0x7FFF)
    reg_ultra_dir = 0;

  /* Convert to engineering units.
     NOTE: the weather station's air temperature/humidity go to air_temp/air_rh
     (JSON "Tw"/"RHw"). The globals `temperature`/`humidity` belong to the SHT45
     canopy sensor read earlier in this function (JSON "Tc1"/"RHc1") and must
     not be overwritten here. */

  air_temp = reg_temp / 10.0f;
  air_rh = reg_hum / 10.0f;
  pressure = reg_pressure / 10.0f;
  baro_pressure = pressure; /* keep the existing JSON "BP" source in sync */
  rainfall_intensity = reg_rain_int * 0.03f;
  accumulated_rainfall = reg_rain_total / 10.0f;
  wind_speed = reg_wind_speed / 100.0f;
  actual_wind_direction = reg_act_dir;
  ultrasonic_wind_direction = reg_ultra_dir;

  /* Mirror into the legacy globals the OLED and JSON already use */
  wind_dir = (uint16_t)actual_wind_direction;
  rainfall = rainfall_intensity;
  rainfall_acc = accumulated_rainfall;
  Air_solar = (float)solar_rad;

  /* Print values */

  sprintf(print_char, "Temperature : %.1f C", air_temp);
  serial_print(print_char);

  sprintf(print_char, "Humidity : %.1f %%RH", air_rh);
  serial_print(print_char);

  sprintf(print_char, "Pressure : %.1f hPa", pressure);
  serial_print(print_char);

  sprintf(print_char, "Wind Speed : %.2f m/s", wind_speed);
  serial_print(print_char);

  sprintf(print_char, "Actual Wind Direction : %d deg", actual_wind_direction);
  serial_print(print_char);

  sprintf(print_char, "Ultrasonic Direction : %d deg", ultrasonic_wind_direction);
  serial_print(print_char);

  sprintf(print_char, "Rain Intensity : %.2f mm/min", rainfall_intensity);
  serial_print(print_char);

  sprintf(print_char, "Accumulated Rainfall : %.1f mm", accumulated_rainfall);
  serial_print(print_char);

  HAL_Delay(5000);

  // Reading PAR
  get_modbus_data(PAR_query, modbus_RX, 9);
  PAR_data = 3.33 * ((modbus_RX[3] << 8) + modbus_RX[4]);
  backup_array[backup_array_size++] = modbus_RX[3];
  backup_array[backup_array_size++] = modbus_RX[4];

  HAL_GPIO_WritePin(RS485_Cut_GPIO_Port, RS485_Cut_Pin, GPIO_PIN_RESET);

  // Reading Battery Voltage
  adc_data = ADC_read_voltage(BATTERY_VOLTAGE_CHANNEL);
  voltage = adc_data * 3.3 / 4095;
  battery_voltage = voltage * (126.0f) / 24.0f;
  backup_array[backup_array_size++] = (adc_data >> 24) & 0xFF;
  backup_array[backup_array_size++] = (adc_data >> 16) & 0xFF;
  backup_array[backup_array_size++] = (adc_data >> 8) & 0xFF;
  backup_array[backup_array_size++] = adc_data & 0xFF;

  // Reading Solar Radiation EMCON (ADC)
  adc_data = ADC_read_voltage(SOLAR_RAD_CHANNEL);
  voltage = adc_data * 3.3 / 4095;
  solar_radiation = 1500 * (voltage - 0.2) / (3.3 - 0.2);
  if (voltage <= 0.2 || solar_radiation < 3)
    solar_radiation = 0;

  backup_array[backup_array_size++] = (adc_data >> 24) & 0xFF;
  backup_array[backup_array_size++] = (adc_data >> 16) & 0xFF;
  backup_array[backup_array_size++] = (adc_data >> 8) & 0xFF;
  backup_array[backup_array_size++] = adc_data & 0xFF;

  // End of the data array
  backup_array[backup_array_size++] = 0xEE;
  if (flash_ready_flag == 1 && flash_write_address < WRITE_ADDRESS_LOCATION)
  {
    serial_print("Storing data in flash");
    write_node_data(flash_write_address, backup_array, backup_array_size, 0, 0);
    read_flash(flash_write_address, data, backup_array_size);
    flash_write_address += backup_array_size;
    write_address_map(flash_write_address, flash_read_address, flash_erase_address, time_interval, GSM_interval);
    read_flash(WRITE_ADDRESS_LOCATION, data, 3);
    backup_array_size = 0;

    // if (flash_next_write_address - flash_write_address - 1 >= flash_data_size && flash_next_write_address - flash_write_address - 1 < 2 * flash_data_size)
    if (flash_next_write_address - flash_write_address - 1 <= flash_data_size) // && flash_next_write_address - flash_write_address - 1 < 2 * flash_data_size)
    {
      flash_write_address = flash_next_write_address;
      flash_next_write_address += 256;
      write_address_map(flash_write_address, flash_read_address, flash_erase_address, time_interval, GSM_interval);
      read_flash(WRITE_ADDRESS_LOCATION, data, 3);
    }
  }
}

uint32_t ADC_read_voltage(uint32_t channel)
{
  uint32_t adc_value = 0;
  ADC_ChannelConfTypeDef sConfig = {0};
  sConfig.Channel = channel;
  sConfig.Rank = ADC_REGULAR_RANK_1;
  sConfig.SamplingTime = ADC_SAMPLINGTIME_COMMON_1;
  if (HAL_ADC_ConfigChannel(&hadc1, &sConfig) != HAL_OK)
  {
    Error_Handler();
  }
  HAL_ADCEx_Calibration_Start(&hadc1);
  HAL_Delay(500);
  HAL_ADC_Start(&hadc1);
  HAL_ADC_PollForConversion(&hadc1, 100);
  adc_value = HAL_ADC_GetValue(&hadc1);
  HAL_ADC_Stop(&hadc1);
  HAL_Delay(500);
  return adc_value;
}

void Oled_Data_display()
{
  if (RTC_alarm_flag == 0 || bootup_flag == 1)
  {
    serial_print("Displaying data on OLED");
    char str[20];
    sprintf(str, "BV : %0.2f", battery_voltage);
    printDisplay(str);
    HAL_Delay(DISPLAY_DELAY);

    sprintf(str, "pH : %0.2f", pH_value);
    printDisplay(str);
    HAL_Delay(DISPLAY_DELAY);

    sprintf(str, "LW1 : %0.2f", leaf_wet_1);
    printDisplay(str);
    HAL_Delay(DISPLAY_DELAY);

    sprintf(str, "LW2 : %0.2f", leaf_wet_2);
    printDisplay(str);
    HAL_Delay(DISPLAY_DELAY);

    sprintf(str, "SM1 : %0.2f", soil_moisture_1);
    printDisplay(str);
    HAL_Delay(DISPLAY_DELAY);

    sprintf(str, "ST1 : %0.2f", soil_temp_1);
    printDisplay(str);
    HAL_Delay(DISPLAY_DELAY);

    sprintf(str, "SEC1 : %d", soil_EC_1);
    printDisplay(str);
    HAL_Delay(DISPLAY_DELAY);

    sprintf(str, "SM2 : %0.2f", soil_moisture_2);
    printDisplay(str);
    HAL_Delay(DISPLAY_DELAY);

    sprintf(str, "ST2 : %0.2f", soil_temp_2);
    printDisplay(str);
    HAL_Delay(DISPLAY_DELAY);

    sprintf(str, "SEC2 : %d", soil_EC_2);
    printDisplay(str);
    HAL_Delay(DISPLAY_DELAY);

    sprintf(str, "N1 : %d", N1);
    printDisplay(str);
    HAL_Delay(DISPLAY_DELAY);

    sprintf(str, "P1 : %d", P1);
    printDisplay(str);
    HAL_Delay(DISPLAY_DELAY);

    sprintf(str, "K1 : %d", K1);
    printDisplay(str);
    HAL_Delay(DISPLAY_DELAY);

    sprintf(str, "N2 : %d", N2);
    printDisplay(str);
    HAL_Delay(DISPLAY_DELAY);

    sprintf(str, "P2 : %d", P2);
    printDisplay(str);
    HAL_Delay(DISPLAY_DELAY);

    sprintf(str, "K2 : %d", K2);
    printDisplay(str);
    HAL_Delay(DISPLAY_DELAY);

    sprintf(str, "AT : %0.2f", temperature);
    printDisplay(str);
    HAL_Delay(DISPLAY_DELAY);

    sprintf(str, "RH : %0.2f", humidity);
    printDisplay(str);
    HAL_Delay(DISPLAY_DELAY);

    sprintf(str, "CO2 : %d", co2);
    printDisplay(str);
    HAL_Delay(DISPLAY_DELAY);

    sprintf(str, "SR : %0.2f", solar_radiation);
    printDisplay(str);
    HAL_Delay(DISPLAY_DELAY);

    sprintf(str, "PAR : %0.2f", PAR_data);
    printDisplay(str);
    HAL_Delay(DISPLAY_DELAY);

    sprintf(str, "WAT : %0.2f", air_temp);
    printDisplay(str);
    HAL_Delay(DISPLAY_DELAY);

    sprintf(str, "WRH : %0.2f", air_rh);
    printDisplay(str);
    HAL_Delay(DISPLAY_DELAY);

    sprintf(str, "BP : %0.2f", baro_pressure);
    printDisplay(str);
    HAL_Delay(DISPLAY_DELAY);

    sprintf(str, "WS : %0.2f", wind_speed);
    printDisplay(str);
    HAL_Delay(DISPLAY_DELAY);

    sprintf(str, "WD : %d", wind_dir);
    printDisplay(str);
    HAL_Delay(DISPLAY_DELAY);

    sprintf(str, "RF : %0.2f", rainfall_acc);
    printDisplay(str);
    HAL_Delay(DISPLAY_DELAY);

    sprintf(str, "WSR : %d", solar_rad);
    printDisplay(str);
    HAL_Delay(DISPLAY_DELAY);

    sprintf(str, "UWD : %d", ultrasonic_wind_direction);
    printDisplay(str);
    HAL_Delay(DISPLAY_DELAY);

    sprintf(str, "RI : %0.2f", rainfall_intensity);
    printDisplay(str);
    HAL_Delay(DISPLAY_DELAY);
  }
}

void GSM_post_sequence(time_t ts)
{
  struct tm time_tm;
  char server_json_backup[800] = {0};
  uint8_t backup_post_retry = 0;
  uint8_t data[30] = {0}; // for read flash
  uint8_t next_GSM_post = 0;
  uint8_t GSM_Publish = 0;

  ts = ts + 19800;
  localtime_r(&ts, &time_tm);
  next_GSM_post = GSM_POST_time(ts, GSM_interval);

  if ((RTC_alarm_flag == 1 && time_tm.tm_hour == next_GSM_post && time_tm.tm_min == 00) || bootup_flag == 1)
  {
    if (bootup_flag == 1)
    {
      bootup_flag = 0;
    }
    else
    {
      // GSM_power_up();  /* Modem stays on for the MQTT link */
#if (USE_HTTP_UPLOAD == 0)
      if (!GSM_MQTT_isConnected())
        MQTT_app_connect();
#endif
      if (time_tm.tm_hour == 0)
        GSM_connected_flag = GSM_time_sync(TIME_SYNC_URL);
    }
    printDisplay("Data Post");
    serial_print("Posting data to server");
    // read data from flash
#if (USE_HTTP_UPLOAD == 1)
    while (flash_ready_flag == 1 && flash_read_address < flash_write_address)
#else
    while (flash_ready_flag == 1 && mqtt_connected == 1 && flash_read_address < flash_write_address)
#endif
    {

      memset(server_json_backup, 0, sizeof(server_json_backup));
      read_flash_create_json(flash_read_address, server_json_backup);
      HAL_Delay(100);
#if (USE_HTTP_UPLOAD == 1)
      GSM_Publish = GSM_HTTP_sendDataToServer(server_json_backup);
#else
      GSM_Publish = GSM_MQTT_publish(MQTT_TOPIC_DATA, server_json_backup, 1, 0);
#endif
      if (GSM_Publish == 1)
      {
        memset(server_json_backup, 0, sizeof(server_json_backup));
        backup_post_retry = 0;
        flash_read_address += flash_data_size; // only if gsm publish successful
        // if (flash_next_read_address - flash_read_address - 1 >= flash_data_size && flash_next_read_address - flash_read_address - 1 < 2 * flash_data_size)
        if (flash_next_read_address - flash_read_address - 1 <= flash_data_size) // && flash_next_read_address - flash_read_address - 1 < 2 * flash_data_size)
        {
          flash_read_address = flash_next_read_address;
          flash_next_read_address += 256;
        }
        if (flash_write_address == WRITE_ADDRESS_LOCATION)
        {
          flash_write_address = 0x000000;
        }
        if (flash_read_address == WRITE_ADDRESS_LOCATION)
        {
          flash_read_address = 0x000000;
        }
        write_address_map(flash_write_address, flash_read_address, flash_erase_address, time_interval, GSM_interval);
        read_flash(WRITE_ADDRESS_LOCATION, data, 3);
        read_flash(READ_ADDRESS_LOCATION, data, 3);
      }
      else
      {
        serial_print("Backup data Post: failed\r\n");
        backup_post_retry++;
        HAL_Delay(2000);
        if (backup_post_retry > 4)
          break;
      }
      HAL_Delay(500);
    }
    if (flash_read_address > flash_write_address)
    {
      serial_print("Flash Read greater than flash write.....Erasing flash\r\n");
      flash_write_address = 0x000000;
      flash_read_address = 0x000000;
      write_address_map(flash_write_address, flash_read_address, flash_erase_address, time_interval, GSM_interval);
      read_flash(WRITE_ADDRESS_LOCATION, data, 3);
      read_flash(READ_ADDRESS_LOCATION, data, 3);
    }
    // GSM_power_down();  /* Modem stays on for the MQTT link */
  }
}

#if (USE_HTTP_UPLOAD == 0)
/* ---------------------------------------------------------------------------
 * MQTT device behaviour, mirroring device_simulator.py:
 *   publishes readings on "data" (from GSM_post_sequence), subscribes to
 *   "motor_cmd", "ota" and "cmd", and reports "on"/"off" on "motor_status"
 *   (retained). Messages whose Device_ID isn't ours are ignored.
 * There is no motor hardware yet: the motor is a software timer.
 * ------------------------------------------------------------------------- */

#define MQTT_CHECK_INTERVAL_MS 30000U // Fallback poll / link check between URCs

/* Copy the value of "key" from a flat JSON object into out (quoted or bare).
   Returns 1 if the key was found. */
static uint8_t json_get_value(const char *json, const char *key, char *out, uint16_t out_size)
{
  char pattern[24];
  const char *p;
  uint16_t len = 0;

  snprintf(pattern, sizeof(pattern), "\"%s\"", key);
  p = strstr(json, pattern);
  if (p == NULL)
    return 0;
  p += strlen(pattern);
  while (*p == ' ' || *p == ':')
    p++;

  if (*p == '"')
  {
    p++;
    while (p[len] != '"' && p[len] != 0 && len < out_size - 1)
      len++;
  }
  else
  {
    while (p[len] != ',' && p[len] != '}' && p[len] != 0 && len < out_size - 1)
      len++;
  }
  memcpy(out, p, len);
  out[len] = 0;
  return 1;
}

static void MQTT_publish_motor_status(void)
{
  char message[96];

  snprintf(message, sizeof(message), "{\"timestamp\":%lu,\"Device_ID\":\"%s\",\"status\":\"%s\"}",
           RTC_read_device_time(), mqtt_device_id, motor_running ? "on" : "off");
  GSM_MQTT_publish(MQTT_TOPIC_MOTOR_STATUS, message, 1, 1);
  sprintf(print_char, "Motor %s", motor_running ? "on" : "off");
  serial_print(print_char);
}

static void motor_start(uint8_t tti)
{
  motor_duration_ms = (uint32_t)tti * MQTT_TTI_UNIT_SECONDS * 1000U;
  motor_start_tick = HAL_GetTick();
  motor_running = 1;
  MQTT_publish_motor_status();
  sprintf(print_char, "Running for TTI %u (%lus)", tti, motor_duration_ms / 1000U);
  serial_print(print_char);
}

static void motor_stop(void)
{
  motor_running = 0;
  MQTT_publish_motor_status();
}

static void MQTT_handle_message(const char *topic, const char *payload)
{
  char value[160];

  if (!json_get_value(payload, "Device_ID", value, sizeof(value)) || strcmp(value, mqtt_device_id) != 0)
    return;

  if (strcmp(topic, MQTT_TOPIC_MOTOR_CMD) == 0)
  {
    if (!json_get_value(payload, "cmd", value, sizeof(value)))
      return;
    if (strcmp(value, "start") == 0)
    {
      char *start = value;
      char *end;
      long tti;

      /* Like int(str(tti).strip()): accepts 5, "5" or " 5 ", rejects anything else */
      if (!json_get_value(payload, "tti", value, sizeof(value)))
        value[0] = 0;
      while (*start == ' ')
        start++;
      tti = strtol(start, &end, 10);
      while (*end == ' ')
        end++;
      if (end == start || *end != 0)
      {
        sprintf(print_char, "Bad tti in motor_cmd: %s", value);
        serial_print(print_char);
        return;
      }
      if (tti < 0)
        tti = 0;
      if (tti > 255)
        tti = 255;
      motor_start((uint8_t)tti);
    }
    else if (strcmp(value, "stop") == 0)
    {
      motor_stop();
    }
  }
  else if (strcmp(topic, MQTT_TOPIC_CMD) == 0)
  {
    json_get_value(payload, "cmd", value, sizeof(value));
    sprintf(print_char, "Received cmd: %s", value);
    serial_print(print_char);
    if (strcmp(value, "reset") == 0)
      motor_stop();
  }
  else if (strcmp(topic, MQTT_TOPIC_OTA) == 0)
  {
    /* Logged only, as in the simulator - no OTA update is performed */
    serial_print("Received OTA:");
    serial_print((char *)payload);
  }
}

/* Connect, subscribe, and announce the motor state (retained). */
uint8_t MQTT_app_connect(void)
{
  snprintf(mqtt_device_id, sizeof(mqtt_device_id), "%s_%08lX", DEVICE_NAME, uid_stm32);
  mqtt_connected = GSM_MQTT_connect(mqtt_device_id);
  mqtt_last_check_tick = HAL_GetTick();
  if (mqtt_connected)
    MQTT_publish_motor_status();
  return mqtt_connected;
}

void MQTT_app_poll(void)
{
  char topic[32];
  char payload[512];
  uint8_t events = GSM_MQTT_eventPending();

  /* Log why the modem closed the link now: any command below (even the
     motor_stop() publish) clears the buffer holding the +QMTSTAT URC */
  if (events & MQTT_EVT_STAT)
    GSM_MQTT_logLinkClosed();

  if (motor_running && HAL_GetTick() - motor_start_tick >= motor_duration_ms)
    motor_stop();

  /* Act at once on a URC, otherwise only every MQTT_CHECK_INTERVAL_MS, since
     each AT command costs time and a line on the serial log. */
  if (events == 0 && HAL_GetTick() - mqtt_last_check_tick < MQTT_CHECK_INTERVAL_MS)
    return;
  mqtt_last_check_tick = HAL_GetTick();

  if (!mqtt_connected || (events & MQTT_EVT_STAT) || events == 0)
  {
    if (!GSM_MQTT_isConnected())
    {
      serial_print("MQTT link down, reconnecting");
      MQTT_app_connect();
    }
    else
    {
      mqtt_connected = 1;
    }
  }

  if (mqtt_connected)
  {
    /* The modem holds at most 5 messages */
    for (uint8_t i = 0; i < 5 && GSM_MQTT_readMessage(topic, sizeof(topic), payload, sizeof(payload)); i++)
    {
      sprintf(print_char, "MQTT rx on '%s'", topic);
      serial_print(print_char);
      MQTT_handle_message(topic, payload);
    }
  }

  /* Clear the buffer so only URCs arriving from now on count as events */
  GSM_resetRxBuff();
}
#endif /* USE_HTTP_UPLOAD == 0 */

/* USER CODE END 4 */

void Error_Handler(void)
{
  /* USER CODE BEGIN Error_Handler_Debug */
  /* User can add his own implementation to report the HAL error return state */
  __disable_irq();
  printDisplay_level(70, "Err");
  while (1)
  {
  }
  /* USER CODE END Error_Handler_Debug */
}
